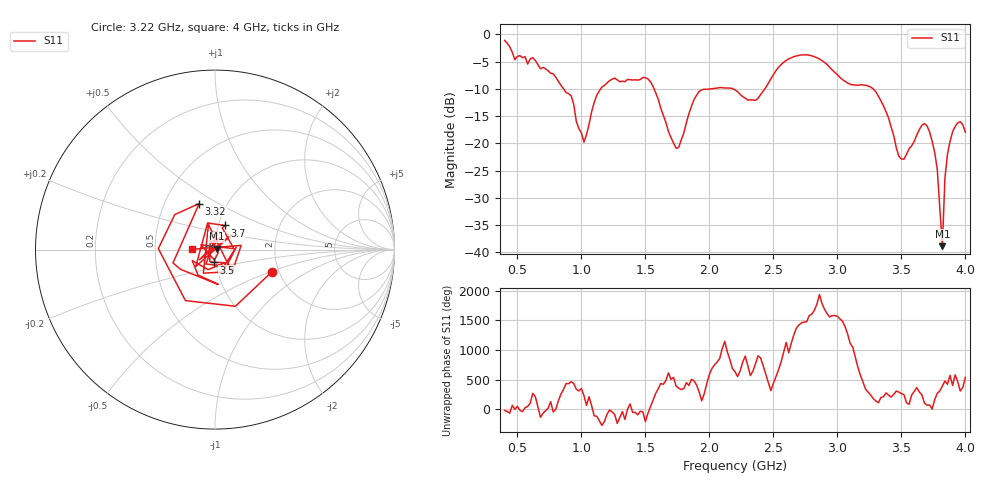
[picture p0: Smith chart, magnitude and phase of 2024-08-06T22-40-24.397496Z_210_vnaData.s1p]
!Created with skrf (http://scikit-rf.org).
# Hz S RI R 50.0
!freq ReS11 ImS11
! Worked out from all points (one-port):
!   181 points, 400 MHz to 4 GHz, reference 50 ohm
!   lowest |S11| = -38.9 dB at 3.82 GHz (marker M1), VSWR 1.02, Z = 51 + j0.572 ohm
!   |S11| at or under -10 dB: 860.9 MHz to 1.151 GHz (289.7 MHz wide, 28.8 % of centre); 1.568 GHz to 2.022 GHz (454.8 MHz wide, 25.3 % of centre); 3.279 GHz to end of sweep (the widest 3 of 4)
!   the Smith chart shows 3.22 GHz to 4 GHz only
!   S11 on the Smith chart (normalised r, x): 3.22 GHz: 1.84, -0.51; 3.32 GHz: 0.74, +0.41; 3.5 GHz: 0.97, -0.14; 3.7 GHz: 1.07, +0.29; 4 GHz: 0.78, +0.00
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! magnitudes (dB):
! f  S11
! 400 MHz  -1.1
! 480 MHz  -4.6
! 620 MHz  -4.3
! 860 MHz  -10.0
! 920 MHz  -11.3
! 1.02 GHz  -19.8
! 1.14 GHz  -10.4
! 1.3 GHz  -8.7
! 1.54 GHz  -8.7
! 1.7 GHz  -19.0
! 1.76 GHz  -20.8
! 1.92 GHz  -10.5
! 2.2 GHz  -10.2
! 2.36 GHz  -12.1
! 2.66 GHz  -4.1
! 2.86 GHz  -4.5
! 3.1 GHz  -9.2
! 3.22 GHz  -9.4
! 3.32 GHz  -11.3
! 3.5 GHz  -22.9
! 3.56 GHz  -21.0
! 3.7 GHz  -16.8
! 3.78 GHz  -24.7
! 3.82 GHz  -38.9
! 3.84 GHz  -26.4
! 3.88 GHz  -19.7
! 3.94 GHz  -16.2
! 4 GHz  -18.0
